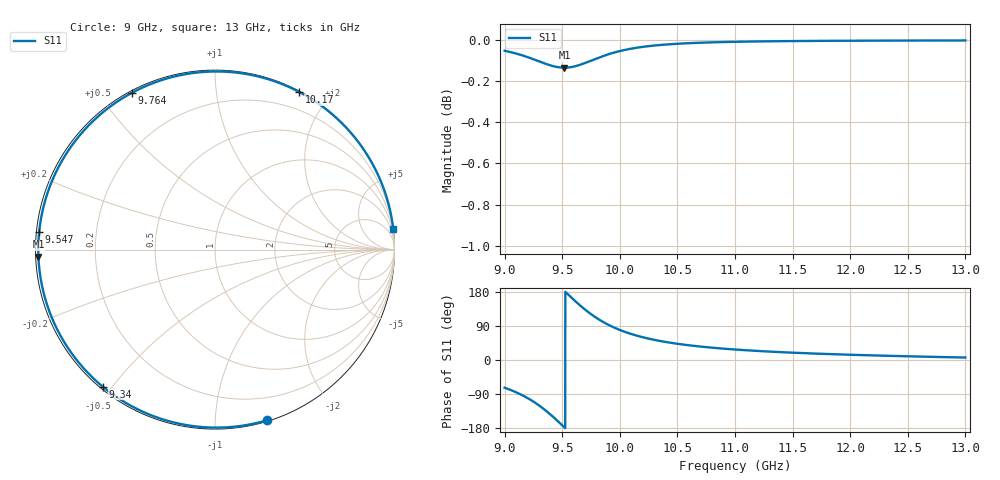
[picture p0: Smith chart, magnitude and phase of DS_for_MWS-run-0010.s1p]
! TOUCHSTONE file generated by CST DESIGN STUDIO
! Date and time: Tue Feb  4 17:19:22 2025
! Project name: C:\Work\MatlabApps\UnitCellOptimizationMatlab\CST\unitcell.cst
! Tree item: Tasks\Sweep1\SPara1\S-Parameters
! Header version: 2024
! Port assignment regex: !\s*Touchstone port\s*([0-9]+)\s*=\s*(CST MWS port|CST DES external port|CST DES block port)\s*(.+)\s* \(\"(.*)\"\)(\s*mode\s*([0-9]+))?.*
! Touchstone port assignment:
! Touchstone port 1 = CST DES external port 1 ("")
# GHz S MA R 50
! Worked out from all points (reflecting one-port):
!   4001 points, 9 GHz to 13 GHz, reference 50 ohm
!   lowest |S11| = -0.1 dB at 9.519 GHz (marker M1), VSWR 128.76, Z = 0.388 - j0.99 ohm
!   phase of S11 starts at -73 deg and turns -280 deg over the sweep
!   S11 on the Smith chart (normalised r, x): 9 GHz: 0.01, -1.35; 9.34 GHz: 0.01, -0.47; 9.547 GHz: 0.01, +0.05; 9.764 GHz: 0.01, +0.60; 10.17 GHz: 0.01, +1.66; 13 GHz: 0, +18
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9  0.994 -73.2
9.093  0.9925 -84.3
9.199  0.9904 -100.4
9.273  0.9887 -114.5
9.34  0.9871 -129.3
9.384  0.9861 -140.2
9.429  0.9853 -152.2
9.465  0.9849 -162.2
9.5  0.9846 -172.2
9.519  0.9846 -177.7
9.547  0.9847 174.2
9.601  0.9852 158.7
9.661  0.9863 142.5
9.712  0.9875 129.7
9.764  0.9888 118.0
9.814  0.9901 107.8
9.868  0.9913 98.2
10  0.9938 79.3
10.084  0.995 70.1
10.174  0.9959 62.0
10.323  0.997 51.7
10.5  0.9979 42.8
10.722  0.9985 34.7
11  0.999 27.7
11.5  0.9994 19.3
12  0.9996 13.8
12.5  0.9997 9.8
13  0.9997 6.5
